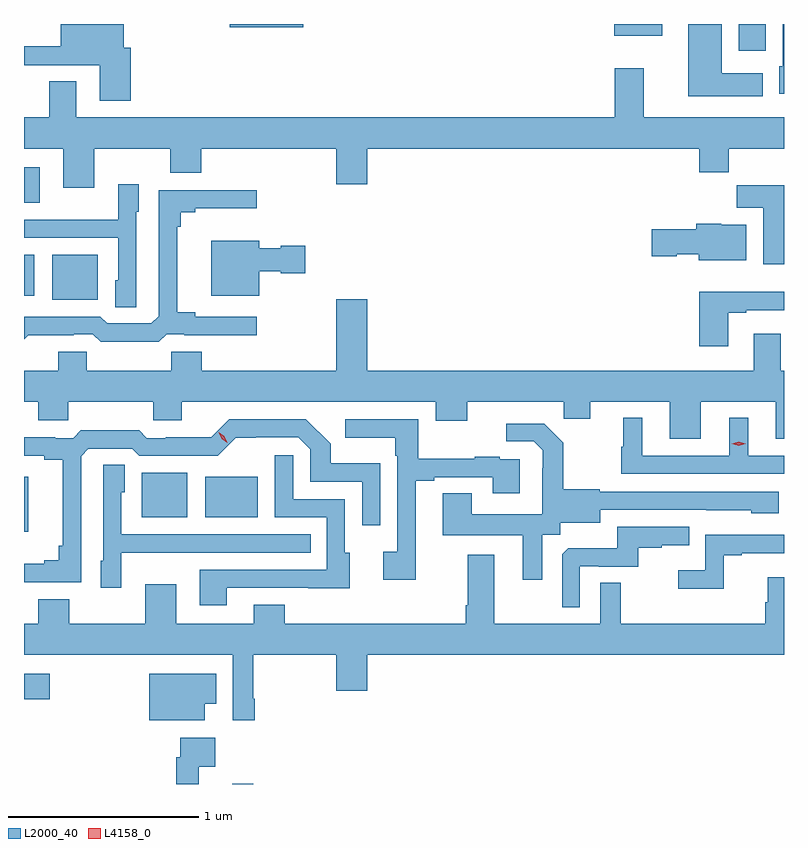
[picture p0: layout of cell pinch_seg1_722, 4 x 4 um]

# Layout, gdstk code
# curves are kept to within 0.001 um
import gdstk
lib = gdstk.Library(unit=1e-6, precision=1e-09)
def R(c, l, rs):  # rectangles x0, y0, x1, y1
    for r in rs: c.add(gdstk.rectangle(r[:2], r[2:], *l))
def P(c, l, *ps):  # polygons
    for p in ps: c.add(gdstk.Polygon(p, *l))
L2000_40 = (2000, 40)
L4158_0 = (4158, 0)

pinch_seg1_722 = lib.new_cell('pinch_seg1_722')
R(pinch_seg1_722, L2000_40, [(643.982,517.752,644.092,517.753), (642.885,518.198,643.021,518.332), (642.885,519.08,642.907,519.37), (643.505,519.155,643.744,519.391), (643.838,519.155,644.116,519.37), (643.034,520.301,643.273,520.537), (642.885,520.322,642.94,520.537), (642.885,520.812,642.967,520.999), (646.646,521.61,646.789,521.752), (645.992,521.69,646.243,521.752), (643.968,521.734,644.356,521.752)])
P(pinch_seg1_722, L2000_40, [(646.774,521.494),(646.558,521.494),(646.558,521.752),(646.382,521.752),(646.382,521.372),(646.774,521.372)],
  [(646.885,521.752),(646.878,521.752),(646.878,521.529),(646.859,521.529),(646.859,521.385),(646.885,521.385)],
  [(643.448,521.628),(643.411,521.628),(643.411,521.752),(643.079,521.752),(643.079,521.636),(642.885,521.636),(642.885,521.535),(643.283,521.535),(643.283,521.349),(643.448,521.349)],
  [(643.255,521.096),(643.655,521.096),(643.655,520.968),(643.819,520.968),(643.819,521.096),(644.528,521.096),(644.528,520.908),(644.692,520.908),(644.692,521.096),(646.439,521.096),(646.439,520.972),(646.595,520.972),(646.595,521.096),(646.885,521.096),(646.885,521.26),(646.147,521.26),(646.147,521.518),(645.995,521.518),(645.995,521.26),(643.159,521.26),(643.159,521.45),(643.019,521.45),(643.019,521.26),(642.885,521.26),(642.885,521.096),(643.091,521.096),(643.091,520.89),(643.255,520.89)],
  [(643.476,520.764),(643.489,520.764),(643.489,520.909),(643.38,520.909),(643.38,520.723),(643.063,520.723),(643.063,520.722),(642.885,520.722),(642.885,520.626),(643.38,520.626),(643.38,520.404),(643.364,520.404),(643.364,520.261),(643.476,520.261)],
  [(646.885,520.903),(646.636,520.903),(646.636,520.784),(646.775,520.784),(646.775,520.488),(646.885,520.488)],
  [(643.635,520.119),(643.729,520.119),(643.729,520.115),(644.11,520.115),(644.11,520.212),(643.786,520.212),(643.786,520.235),(643.691,520.235),(643.691,520.685),(643.709,520.685),(643.709,520.762),(643.786,520.762),(643.786,520.781),(644.11,520.781),(644.11,520.878),(643.593,520.878),(643.593,520.215),(643.554,520.176),(643.323,520.176),(643.287,520.212),(642.885,520.212),(642.885,520.092),(642.908,520.115),(643.148,520.115),(643.148,520.119),(643.248,520.119),(643.288,520.08),(643.595,520.08)],
  [(646.687,520.696),(646.554,520.696),(646.554,520.702),(646.424,520.702),(646.424,520.671),(646.188,520.671),(646.188,520.529),(646.32,520.529),(646.32,520.541),(646.436,520.541),(646.436,520.508),(646.687,520.508)],
  [(644.122,520.451),(644.235,520.451),(644.235,520.439),(644.365,520.439),(644.365,520.586),(644.235,520.586),(644.235,520.573),(644.122,520.573),(644.122,520.612),(643.871,520.612),(643.871,520.322),(644.122,520.322)],
  [(646.591,520.233),(646.687,520.233),(646.687,520.245),(646.885,520.245),(646.885,520.342),(646.439,520.342),(646.439,520.056),(646.591,520.056)],
  [(646.447,519.764),(646.841,519.764),(646.841,519.57),(646.885,519.57),(646.885,519.928),(646.867,519.928),(646.867,520.123),(646.727,520.123),(646.727,519.928),(644.692,519.928),(644.692,520.303),(644.528,520.303),(644.528,519.928),(643.82,519.928),(643.82,520.026),(643.66,520.026),(643.66,519.928),(643.215,519.928),(643.215,520.026),(643.064,520.026),(643.064,519.928),(642.885,519.928),(642.885,519.764),(642.959,519.764),(642.959,519.666),(643.119,519.666),(643.119,519.764),(643.564,519.764),(643.564,519.666),(643.714,519.666),(643.714,519.764),(645.053,519.764),(645.053,519.665),(645.217,519.665),(645.217,519.764),(645.727,519.764),(645.727,519.674),(645.865,519.674),(645.865,519.764),(646.283,519.764),(646.283,519.57),(646.447,519.57)],
  [(646.885,519.48),(646.696,519.48),(646.696,519.679),(646.598,519.679),(646.598,519.48),(646.138,519.48),(646.138,519.679),(646.04,519.679),(646.04,519.528),(646.029,519.528),(646.029,519.384),(646.885,519.384)],
  [(644.947,519.347),(645.043,519.347),(645.043,519.366),(645.353,519.366),(645.353,519.282),(645.493,519.282),(645.493,519.462),(645.389,519.462),(645.389,519.475),(645.257,519.475),(645.257,519.464),(644.959,519.464),(644.959,519.672),(644.577,519.672),(644.577,519.575),(644.838,519.575),(644.838,519.479),(644.85,519.479),(644.85,518.974),(644.775,518.974),(644.775,518.826),(644.947,518.826)],
  [(643.185,519.477),(643.224,519.516),(643.455,519.516),(643.491,519.48),(643.905,519.48),(644,519.575),(644.328,519.576),(644.391,519.513),(644.391,519.342),(644.664,519.342),(644.664,519.114),(644.76,519.114),(644.76,519.439),(644.499,519.439),(644.499,519.542),(644.368,519.672),(643.965,519.672),(643.871,519.578),(643.63,519.578),(643.63,519.573),(643.53,519.573),(643.491,519.613),(643.183,519.613),(643.143,519.573),(643.049,519.573),(643.049,519.578),(642.885,519.578),(642.885,519.48),(642.992,519.48),(642.992,519.458),(643.088,519.458),(643.088,519.007),(643.069,519.007),(643.069,518.93),(642.992,518.93),(642.992,518.911),(642.885,518.911),(642.885,518.814),(643.185,518.814)],
  [(645.613,519.064),(645.708,519.064),(645.708,519.128),(645.919,519.128),(645.919,519.195),(646.713,519.194),(646.713,519.176),(646.858,519.176),(646.858,519.291),(645.915,519.291),(645.915,519.304),(645.723,519.304),(645.723,519.549),(645.623,519.649),(645.423,519.649),(645.423,519.555),(645.567,519.555),(645.614,519.508),(645.614,519.413),(645.612,519.413),(645.612,519.172),(645.241,519.172),(645.241,519.281),(645.089,519.281),(645.089,519.062),(645.509,519.062),(645.509,518.826),(645.613,518.826)],
  [(643.951,518.784),(644.381,518.784),(644.381,518.783),(644.599,518.783),(644.599,518.97),(644.574,518.97),(644.574,519.252),(644.301,519.252),(644.301,519.481),(644.205,519.481),(644.205,519.156),(644.478,519.156),(644.478,518.88),(643.811,518.88),(643.811,518.694),(643.951,518.694)],
  [(643.398,518.969),(643.715,518.969),(643.715,518.97),(644.393,518.97),(644.393,519.066),(643.398,519.066),(643.398,519.288),(643.414,519.288),(643.414,519.431),(643.302,519.431),(643.302,518.928),(643.289,518.928),(643.289,518.784),(643.398,518.784)],
  [(645.81,518.898),(645.91,518.898),(645.91,518.895),(646.118,518.895),(646.118,518.996),(646.241,518.996),(646.241,519.008),(646.385,519.008),(646.385,519.105),(646.008,519.105),(646.008,518.993),(645.749,518.993),(645.717,518.961),(645.717,518.681),(645.81,518.681)],
  [(646.569,518.955),(646.663,518.955),(646.663,518.967),(646.885,518.967),(646.885,519.063),(646.47,519.063),(646.47,518.878),(646.329,518.878),(646.329,518.78),(646.569,518.78)],
  [(644.099,518.2),(644.092,518.2),(644.092,518.432),(644.528,518.432),(644.528,518.244),(644.692,518.244),(644.692,518.432),(646.885,518.432),(646.885,518.839),(646.799,518.839),(646.799,518.709),(646.787,518.709),(646.787,518.596),(646.027,518.596),(646.027,518.81),(645.918,518.81),(645.918,518.596),(645.361,518.596),(645.361,518.959),(645.221,518.959),(645.221,518.692),(645.209,518.692),(645.209,518.596),(644.257,518.596),(644.257,518.695),(644.093,518.695),(644.093,518.596),(643.687,518.596),(643.687,518.803),(643.523,518.803),(643.523,518.596),(643.123,518.596),(643.123,518.725),(642.959,518.725),(642.959,518.596),(642.885,518.596),(642.885,518.432),(643.983,518.432),(643.983,518.088),(644.099,518.088)],
  [(643.837,518.174),(643.898,518.174),(643.898,518.332),(643.544,518.332),(643.544,518.087),(643.837,518.087)],
  [(643.805,517.844),(643.891,517.844),(643.891,517.996),(643.707,517.996),(643.707,517.892),(643.687,517.892),(643.687,517.752),(643.805,517.752)])
P(pinch_seg1_722, L4158_0, [(643.956,519.548),(643.925,519.569),(643.909,519.602),(643.909,519.603),(643.909,519.603),(643.94,519.582),(643.956,519.548),(643.956,519.548)],
  [(646.647,519.533),(646.611,519.542),(646.611,519.543),(646.611,519.543),(646.647,519.553),(646.683,519.543),(646.683,519.543),(646.683,519.542)])

lib.write_gds('pinch_seg1_722.gds')
